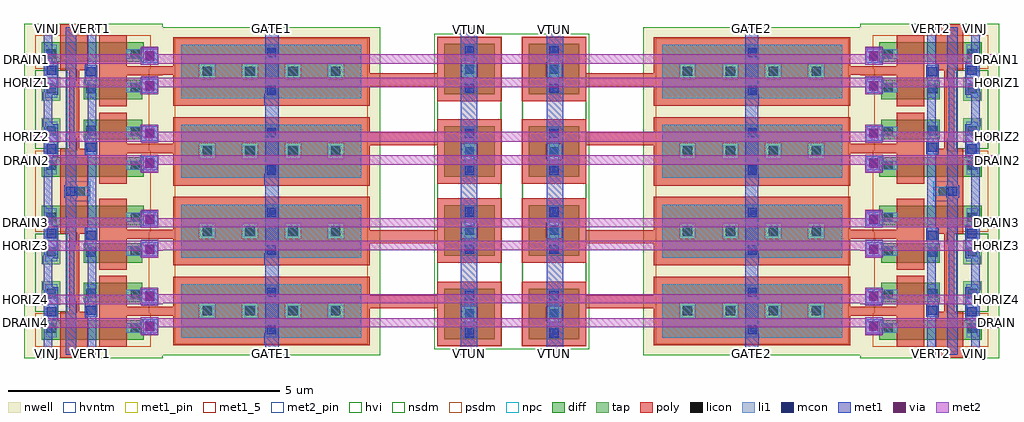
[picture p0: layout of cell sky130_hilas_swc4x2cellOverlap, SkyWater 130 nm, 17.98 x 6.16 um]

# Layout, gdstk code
from math import pi, radians
import gdstk
lib = gdstk.Library(unit=1e-6, precision=1e-09)
def R(c, l, rs):  # rectangles x0, y0, x1, y1
    for r in rs: c.add(gdstk.rectangle(r[:2], r[2:], *l))
def A(c, l, x, y, w, h, nx, ny, dx, dy):  # array of equal rectangles
    R(c, l, [(x+i*dx, y+j*dy, x+i*dx+w, y+j*dy+h) for i in range(nx) for j in range(ny)])
nwell = (64, 20)
diff = (65, 20)
tap = (65, 44)
poly = (66, 20)
licon = (66, 44)
li1 = (67, 20)
mcon = (67, 44)
met1_5 = (68, 5)
met1_pin = (68, 16)
met1 = (68, 20)
via = (68, 44)
met2_pin = (69, 16)
met2 = (69, 20)
hvi = (75, 20)
nsdm = (93, 44)
psdm = (94, 20)
npc = (95, 20)
hvntm = (125, 20)

sky130_hilas_noverlapcap = lib.new_cell('sky130_hilas_nOverlapCap01')
R(sky130_hilas_noverlapcap, diff, [(-0.44,-0.25,0.49,0.68)])
R(sky130_hilas_noverlapcap, poly, [(-0.57,-0.38,0.62,0.07), (-0.57,0.07,-0.12,0.36), (0.17,0.07,0.62,0.36), (-0.57,0.36,0.62,0.81)])
R(sky130_hilas_noverlapcap, licon, [(-0.06,0.13,0.11,0.3)])
R(sky130_hilas_noverlapcap, li1, [(-0.06,-0.22,0.11,0.67)])
R(sky130_hilas_noverlapcap, mcon, [(-0.06,-0.22,0.11,-0.05), (-0.06,0.47,0.11,0.64)])
R(sky130_hilas_noverlapcap, met1, [(-0.09,-0.43,0.14,0.86)])
R(sky130_hilas_noverlapcap, hvi, [(-0.625,-0.435,0.675,0.865)])
R(sky130_hilas_noverlapcap, nsdm, [(-0.565,-0.375,0.615,0.805)])
R(sky130_hilas_noverlapcap, hvntm, [(-0.625,-0.435,0.675,0.865)])

sky130_hilas_overlapcap0 = lib.new_cell('sky130_hilas_overlapCap02a')
R(sky130_hilas_overlapcap0, nwell, [(-5.21,-0.54,-1.21,1.1)])
R(sky130_hilas_overlapcap0, diff, [(-4.86,-0.21,-1.55,0.77)])
A(sky130_hilas_overlapcap0, poly, -4.25, 0.14, 0.5, 0.29, 3, 1, 0.79, 0)
R(sky130_hilas_overlapcap0, poly, [(-5.02,-0.35,-1.4,0.14), (-5.02,0.14,-4.54,0.43), (-1.88,0.14,-1.4,0.43), (-5.02,0.43,-1.4,0.91)])
A(sky130_hilas_overlapcap0, licon, -4.48, 0.2, 0.17, 0.17, 4, 1, 0.79, 0)
R(sky130_hilas_overlapcap0, li1, [(-4.86,-0.21,-1.55,0.77)])
R(sky130_hilas_overlapcap0, mcon, [(-3.29,-0.15,-3.12,0.02), (-3.29,0.54,-3.12,0.71)])
R(sky130_hilas_overlapcap0, met1, [(-3.32,-0.35,-3.08,-0.13), (-3.32,-0.13,-3.09,0.13), (-3.33,0.13,-3.09,0.77)])
R(sky130_hilas_overlapcap0, hvi, [(-5.21,-0.54,-1.21,1.1)])
R(sky130_hilas_overlapcap0, psdm, [(-4.985,-0.335,-1.425,0.895)])

sky130_hilas_li2m2 = lib.new_cell('sky130_hilas_li2m2')
R(sky130_hilas_li2m2, li1, [(-0.13,-0.12,0.19,-0.09), (-0.13,-0.09,0.2,0.1), (-0.13,0.1,0.19,0.14)])
R(sky130_hilas_li2m2, mcon, [(-0.07,-0.08,0.1,0.09)])
R(sky130_hilas_li2m2, met1, [(-0.14,-0.15,0.18,0.17)])
R(sky130_hilas_li2m2, via, [(-0.055,-0.065,0.095,0.085)])
R(sky130_hilas_li2m2, met2, [(-0.14,-0.15,0.17,0.18)])

sky130_hilas_horizpcell0 = lib.new_cell('sky130_hilas_horizPcell01')
R(sky130_hilas_horizpcell0, nwell, [(-2.89,0.41,-0.33,2.32)])
R(sky130_hilas_horizpcell0, diff, [(-2.54,0.75,-0.66,1.11), (-2.51,1.44,-1.43,1.8)])
R(sky130_hilas_horizpcell0, tap, [(-1,1.39,-0.66,1.83)])
R(sky130_hilas_horizpcell0, poly, [(-1.5,0.42,-1,1.27), (-2.22,0.62,-1.72,1.19), (-2.89,1.19,-1.72,1.36), (-1.35,1.27,-1.16,2.05), (-2.22,1.36,-1.72,1.93)])
R(sky130_hilas_horizpcell0, licon, [(-2.465,0.88,-2.295,1.05), (-0.915,0.88,-0.745,1.05), (-2.465,1.5,-2.295,1.67), (-0.915,1.515,-0.745,1.685), (-1.65,1.52,-1.48,1.69)])
R(sky130_hilas_horizpcell0, li1, [(-0.93,0.8,-0.73,1.15), (-2.55,0.88,-2.21,1.05), (-0.93,1.15,-0.72,1.18), (-1.66,1.17,-1.46,1.77), (-0.94,1.18,-0.72,1.77), (-2.55,1.5,-2.21,1.67)])
R(sky130_hilas_horizpcell0, mcon, [(-0.92,1.18,-0.75,1.35), (-1.65,1.21,-1.48,1.38)])
R(sky130_hilas_horizpcell0, met1, [(-1.66,0.42,-1.5,1.15), (-0.85,0.42,-0.69,1.12), (-1.29,0.47,-1.1,1.46), (-0.96,1.12,-0.69,1.67), (-1.66,1.15,-1.46,1.17), (-1.68,1.17,-1.45,1.41), (-1.66,1.41,-1.45,1.46), (-1.66,1.46,-1.5,2.32), (-1.27,1.46,-1.1,1.58), (-1.26,1.58,-1.1,2.32), (-0.96,1.67,-0.68,1.72), (-0.85,1.72,-0.68,1.81), (-0.85,1.81,-0.69,2.32)])
R(sky130_hilas_horizpcell0, met2, [(-2.51,0.97,-0.33,1.15), (-2.89,1.4,-2.8,1.58), (-2.5,1.4,-0.33,1.58)])
R(sky130_hilas_horizpcell0, hvi, [(-2.89,0.41,-0.33,2.32)])
R(sky130_hilas_horizpcell0, nsdm, [(-1.125,1.265,-0.535,1.955)])
R(sky130_hilas_horizpcell0, psdm, [(-2.665,0.625,-0.535,1.235), (-2.635,1.235,-1.305,1.925)])
sky130_hilas_horizpcell0.add(gdstk.Reference(sky130_hilas_li2m2, (-2.66,1.01), x_reflection=True))
sky130_hilas_horizpcell0.add(gdstk.Reference(sky130_hilas_li2m2, (-2.66,1.56), x_reflection=True))

sky130_hilas_swc4x1cello = lib.new_cell('sky130_hilas_swc4x1cellOverlap2')
R(sky130_hilas_swc4x1cello, nwell, [(6.32,-0.88,6.49,-0.72), (6.66,-0.88,6.67,-0.72), (6.32,-0.72,6.67,-0.71)])
R(sky130_hilas_swc4x1cello, poly, [(4.69,-3.09,4.88,-2.92), (-0.19,-2.95,1.32,-2.71), (-0.19,-1.75,1.3,-1.51), (4.69,-1.67,4.88,-1.5), (6.32,-0.88,6.49,-0.72), (6.65,-0.88,6.67,-0.72), (6.32,-0.72,6.67,-0.71), (4.69,-0.09,4.88,0.08), (-0.19,0.05,1.28,0.29), (-0.19,1.14,1.3,1.38), (4.69,1.35,4.88,1.47), (4.69,1.47,4.89,1.51)])
R(sky130_hilas_swc4x1cello, licon, [(6.32,-0.88,6.49,-0.71)])
R(sky130_hilas_swc4x1cello, li1, [(6.23,-0.88,6.67,-0.71)])
R(sky130_hilas_swc4x1cello, mcon, [(6.495,-0.88,6.665,-0.71)])
R(sky130_hilas_swc4x1cello, met1, [(-0.9,-3.82,-0.63,2.23), (6.56,-0.95,6.67,-0.91), (6.46,-0.91,6.7,-0.68), (6.54,-0.68,6.67,-0.66)])
R(sky130_hilas_swc4x1cello, met2, [(-1.91,-3.3,5,-3.13), (-1.91,-2.86,5,-2.69), (-1.91,-1.88,5,-1.71), (-1.91,-1.46,5,-1.29), (-1.91,-0.31,5,-0.2), (-1.91,-0.2,4.96,-0.13), (-1.91,0.12,5,0.24), (-1.91,0.24,4.97,0.3), (-1.91,1.12,7.1,1.3), (-1.91,1.55,5,1.66), (-1.91,1.66,4.97,1.73)])
R(sky130_hilas_swc4x1cello, hvi, [(-1.415,-2.405,-0.115,-2.165), (-1.415,-0.865,-0.115,-0.715), (-1.415,0.585,-0.115,0.805)])
R(sky130_hilas_swc4x1cello, nsdm, [(-1.355,-2.465,-0.175,-2.105), (6.645,-2.325,7.235,-2.265), (-1.355,-0.925,-0.175,-0.655), (-1.355,0.525,-0.175,0.865), (6.645,0.675,7.235,0.745)])
A(sky130_hilas_swc4x1cello, psdm, 1.105, -2.385, 3.56, 0.24, 1, 3, 0, 1.47)
R(sky130_hilas_swc4x1cello, psdm, [(5.135,-2.355,6.465,-2.235), (5.105,-0.935,7.235,-0.655), (5.135,0.645,6.465,0.775)])
R(sky130_hilas_swc4x1cello, npc, [(6.22,-0.98,6.59,-0.61)])
R(sky130_hilas_swc4x1cello, hvntm, [(-1.415,-2.405,-0.115,-2.165), (-1.415,-0.865,-0.115,-0.715), (-1.415,0.585,-0.115,0.805)])
sky130_hilas_swc4x1cello.add(gdstk.Reference(sky130_hilas_noverlapcap, (-0.79,-3.27)))
sky130_hilas_swc4x1cello.add(gdstk.Reference(sky130_hilas_noverlapcap, (-0.79,-1.73)))
sky130_hilas_swc4x1cello.add(gdstk.Reference(sky130_hilas_overlapcap0, (6.09,-3.28)))
sky130_hilas_swc4x1cello.add(gdstk.Reference(sky130_hilas_overlapcap0, (6.09,-1.81)))
sky130_hilas_swc4x1cello.add(gdstk.Reference(sky130_hilas_horizpcell0, (7.77,-4.28)))
sky130_hilas_swc4x1cello.add(gdstk.Reference(sky130_hilas_horizpcell0, (7.77,-0.31), x_reflection=True))
sky130_hilas_swc4x1cello.add(gdstk.Reference(sky130_hilas_noverlapcap, (-0.79,-0.28)))
sky130_hilas_swc4x1cello.add(gdstk.Reference(sky130_hilas_overlapcap0, (6.09,-0.34)))
sky130_hilas_swc4x1cello.add(gdstk.Reference(sky130_hilas_horizpcell0, (7.77,-1.28)))
sky130_hilas_swc4x1cello.add(gdstk.Reference(sky130_hilas_noverlapcap, (-0.79,1.24)))
sky130_hilas_swc4x1cello.add(gdstk.Reference(sky130_hilas_overlapcap0, (6.09,1.13)))
sky130_hilas_swc4x1cello.add(gdstk.Reference(sky130_hilas_horizpcell0, (7.77,2.7), x_reflection=True))

sky130_hilas_swc4x2cello = lib.new_cell('sky130_hilas_swc4x2cellOverlap')
R(sky130_hilas_swc4x2cello, met1_5, [(-0.38,13.25,-0.08,13.33)])
R(sky130_hilas_swc4x2cello, met1_pin, [(-5.57,7.28,-5.32,7.34), (-1.96,7.28,-1.66,7.36), (-0.38,7.28,-0.08,7.36), (3.28,7.28,3.52,7.34), (-9.65,7.29,-9.49,7.36), (-9.24,7.29,-9.05,7.36), (-8.84,7.29,-8.68,7.36), (6.63,7.29,6.79,7.36), (7,7.29,7.19,7.36), (7.44,7.29,7.6,7.36), (-1.96,13.25,-1.66,13.33), (6.63,13.26,6.79,13.33), (7,13.26,7.19,13.33), (7.44,13.26,7.6,13.33), (-9.65,13.27,-9.49,13.33), (-9.24,13.27,-9.05,13.33), (-8.84,13.27,-8.68,13.33), (-5.57,13.27,-5.32,13.33), (3.28,13.28,3.52,13.33)])
R(sky130_hilas_swc4x2cello, met1, [(-5.57,7.28,-5.32,13.33), (-1.96,7.28,-1.66,13.33), (-0.38,7.28,-0.08,13.33), (3.28,7.28,3.52,13.33), (-9.65,7.29,-9.49,7.36), (-9.24,7.29,-9.05,7.36), (-8.84,7.29,-8.68,7.36), (6.63,7.29,6.79,7.36), (7,7.29,7.19,7.36), (7.44,7.29,7.6,7.36), (6.63,13.26,6.79,13.33), (7,13.26,7.19,13.33), (7.44,13.26,7.6,13.33), (-9.65,13.27,-9.49,13.33), (-9.24,13.27,-9.05,13.33), (-8.84,13.27,-8.68,13.33)])
R(sky130_hilas_swc4x2cello, met2_pin, [(-10.01,7.79,-9.94,7.97), (7.85,7.79,7.96,7.97), (-10.01,8.22,-9.94,8.4), (7.85,8.22,7.96,8.4), (-10.01,9.21,-9.94,9.39), (7.85,9.21,7.96,9.39), (-10.01,9.64,-9.94,9.82), (7.85,9.64,7.96,9.82), (-10.01,10.79,-9.93,10.97), (7.86,10.79,7.97,10.97), (-10.01,11.22,-9.93,11.4), (7.86,11.22,7.97,11.4), (-10.01,12.22,-9.93,12.4), (7.86,12.22,7.97,12.4), (-10.01,12.65,-9.93,12.83), (7.85,12.65,7.96,12.83)])
R(sky130_hilas_swc4x2cello, met2, [(-10.01,7.79,-9.94,7.97), (7.85,7.79,7.96,7.97), (-10.01,8.22,-9.94,8.4), (7.85,8.22,7.96,8.4), (-10.01,9.21,-9.94,9.39), (7.85,9.21,7.96,9.39), (-10.01,9.64,-9.94,9.82), (7.85,9.64,7.96,9.82), (-10.01,10.79,-9.93,10.97), (7.86,10.79,7.97,10.97), (5.48,10.83,5.6,10.97), (-7.61,10.89,-7.49,10.97), (-10.01,11.22,-9.93,11.4), (7.86,11.22,7.97,11.4), (-10.01,12.22,-9.93,12.4), (7.86,12.22,7.97,12.4), (-10.01,12.65,-9.93,12.83), (7.85,12.65,7.96,12.83)])
R(sky130_hilas_swc4x2cello, hvi, [(-1.155,7.395,-0.895,13.205)])
R(sky130_hilas_swc4x2cello, hvntm, [(-1.155,7.395,-0.895,13.205)])
sky130_hilas_swc4x2cello.add(gdstk.Reference(sky130_hilas_swc4x1cello, (0.52,11.1)))
sky130_hilas_swc4x2cello.add(gdstk.Reference(sky130_hilas_swc4x1cello, (-2.57,11.1), rotation=pi, x_reflection=True))
sky130_hilas_swc4x2cello.add(gdstk.Label('VTUN', (-0.23,13.29), layer=68, texttype=5))
sky130_hilas_swc4x2cello.add(gdstk.Label('VERT1', (-8.76,13.3), layer=68, texttype=16))
sky130_hilas_swc4x2cello.add(gdstk.Label('VERT1', (-8.76,7.325), layer=68, texttype=16))
sky130_hilas_swc4x2cello.add(gdstk.Label('HORIZ1', (-9.97,12.31), layer=69, texttype=16))
sky130_hilas_swc4x2cello.add(gdstk.Label('HORIZ1', (7.915,12.31), layer=69, texttype=16))
sky130_hilas_swc4x2cello.add(gdstk.Label('DRAIN1', (-9.97,12.74), layer=69, texttype=16))
sky130_hilas_swc4x2cello.add(gdstk.Label('DRAIN1', (7.905,12.74), layer=69, texttype=16))
sky130_hilas_swc4x2cello.add(gdstk.Label('HORIZ2', (-9.97,11.31), layer=69, texttype=16))
sky130_hilas_swc4x2cello.add(gdstk.Label('HORIZ2', (7.915,11.31), layer=69, texttype=16))
sky130_hilas_swc4x2cello.add(gdstk.Label('DRAIN2', (-9.97,10.88), layer=69, texttype=16))
sky130_hilas_swc4x2cello.add(gdstk.Label('DRAIN2', (7.915,10.88), layer=69, texttype=16))
sky130_hilas_swc4x2cello.add(gdstk.Label('DRAIN3', (-9.975,9.73), layer=69, texttype=16))
sky130_hilas_swc4x2cello.add(gdstk.Label('DRAIN3', (7.905,9.73), layer=69, texttype=16))
sky130_hilas_swc4x2cello.add(gdstk.Label('HORIZ3', (-9.975,9.3), layer=69, texttype=16))
sky130_hilas_swc4x2cello.add(gdstk.Label('HORIZ3', (7.905,9.3), layer=69, texttype=16))
sky130_hilas_swc4x2cello.add(gdstk.Label('HORIZ4', (-9.975,8.31), layer=69, texttype=16))
sky130_hilas_swc4x2cello.add(gdstk.Label('HORIZ4', (7.905,8.31), layer=69, texttype=16))
sky130_hilas_swc4x2cello.add(gdstk.Label('DRAIN4', (-9.975,7.88), layer=69, texttype=16))
sky130_hilas_swc4x2cello.add(gdstk.Label('VINJ', (-9.57,13.3), layer=68, texttype=16))
sky130_hilas_swc4x2cello.add(gdstk.Label('VINJ', (-9.57,7.325), layer=68, texttype=16))
sky130_hilas_swc4x2cello.add(gdstk.Label('VINJ', (7.52,7.325), layer=68, texttype=16))
sky130_hilas_swc4x2cello.add(gdstk.Label('VINJ', (7.52,13.295), layer=68, texttype=16))
sky130_hilas_swc4x2cello.add(gdstk.Label('GATESELECT1', (-9.145,13.3), layer=68, texttype=16))
sky130_hilas_swc4x2cello.add(gdstk.Label('GATESELECT1', (-9.145,7.325), layer=68, texttype=16))
sky130_hilas_swc4x2cello.add(gdstk.Label('VERT2', (6.71,13.295), layer=68, texttype=16))
sky130_hilas_swc4x2cello.add(gdstk.Label('VERT2', (6.71,7.325), layer=68, texttype=16))
sky130_hilas_swc4x2cello.add(gdstk.Label('GATESELECT2', (7.095,13.295), layer=68, texttype=16))
sky130_hilas_swc4x2cello.add(gdstk.Label('GATESELECT2', (7.095,7.325), layer=68, texttype=16))
sky130_hilas_swc4x2cello.add(gdstk.Label('DRAIN', (7.905,7.88), layer=69, texttype=16))
sky130_hilas_swc4x2cello.add(gdstk.Label('GATE2', (3.4,13.305), layer=68, texttype=16))
sky130_hilas_swc4x2cello.add(gdstk.Label('GATE2', (3.4,7.31), layer=68, texttype=16))
sky130_hilas_swc4x2cello.add(gdstk.Label('GATE1', (-5.445,13.3), layer=68, texttype=16))
sky130_hilas_swc4x2cello.add(gdstk.Label('GATE1', (-5.445,7.31), layer=68, texttype=16))
sky130_hilas_swc4x2cello.add(gdstk.Label('VTUN', (-1.81,13.29), layer=68, texttype=16))
sky130_hilas_swc4x2cello.add(gdstk.Label('VTUN', (-1.81,7.32), layer=68, texttype=16))
sky130_hilas_swc4x2cello.add(gdstk.Label('VTUN', (-0.23,7.32), layer=68, texttype=16))

lib.write_gds('sky130_hilas_swc4x2cellOverlap.gds')
